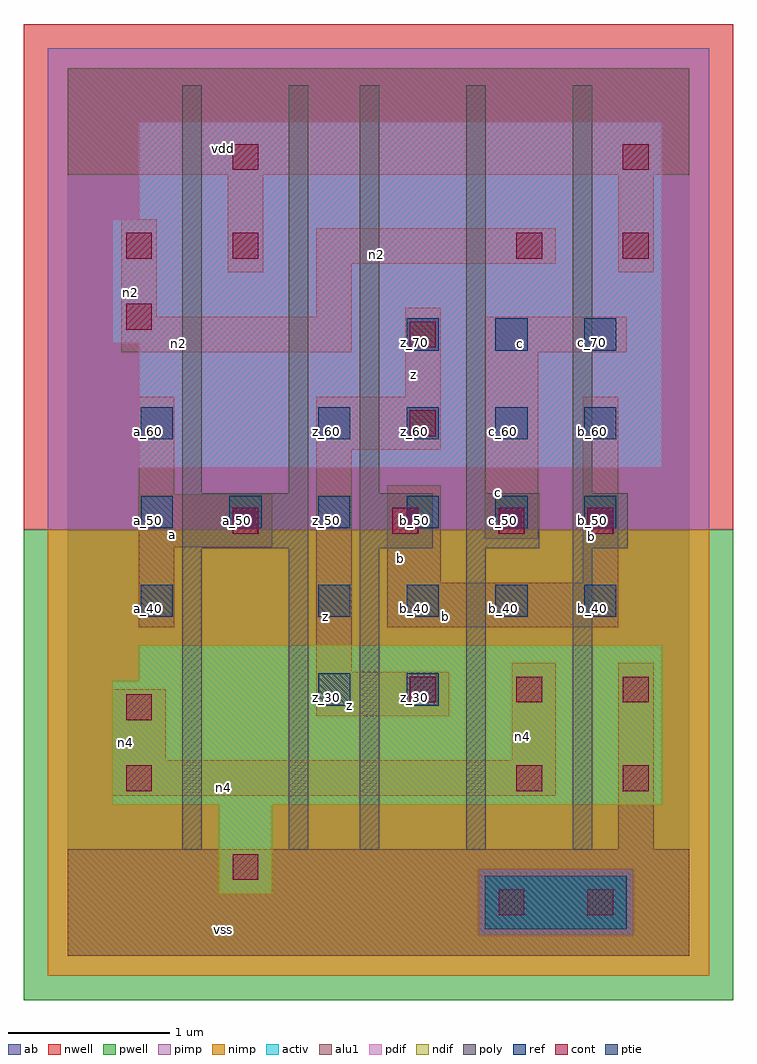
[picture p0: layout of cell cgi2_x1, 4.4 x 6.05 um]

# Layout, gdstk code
import gdstk
lib = gdstk.Library(unit=1e-6, precision=2.5e-09)
def R(c, l, rs):  # rectangles x0, y0, x1, y1
    for r in rs: c.add(gdstk.rectangle(r[:2], r[2:], *l))
def A(c, l, x, y, w, h, nx, ny, dx, dy):  # array of equal rectangles
    R(c, l, [(x+i*dx, y+j*dy, x+i*dx+w, y+j*dy+h) for i in range(nx) for j in range(ny)])
ndif = (3, 0)
pdif = (4, 0)
ptie = (6, 0)
ref = (24, 0)
cont = (25, 0)
pwell = (41, 0)
nwell = (42, 0)
activ = (43, 0)
pimp = (44, 0)
nimp = (45, 0)
poly = (46, 0)
alu1 = (49, 0)
ab = (63, 0)

cgi2_x1 = lib.new_cell('cgi2_x1')
R(cgi2_x1, ndif, [(0.935,0.385,1.265,0.935), (0.275,0.935,3.685,1.705), (0.44,1.705,3.685,1.925)])
R(cgi2_x1, pdif, [(0.44,3.025,3.685,3.795), (0.275,3.795,3.685,4.565), (0.44,4.565,3.685,5.17)])
R(cgi2_x1, ptie, [(2.585,0.165,3.465,0.495)])
A(cgi2_x1, ref, 1.55, 2.1, 0.2, 0.2, 4, 2, 0.55, 1.1)
A(cgi2_x1, ref, 0.45, 2.65, 0.2, 0.2, 6, 1, 0.55, 0)
A(cgi2_x1, ref, 2.1, 3.75, 0.2, 0.2, 3, 1, 0.55, 0)
R(cgi2_x1, ref, [(1.55,1.55,1.75,1.75), (2.1,1.55,2.3,1.75), (0.45,2.1,0.65,2.3), (0.45,3.2,0.65,3.4)])
A(cgi2_x1, cont, 2.12, 1.57, 0.16, 0.16, 3, 1, 0.66, 0)
R(cgi2_x1, cont, [(2.67,0.25,2.83,0.41), (3.22,0.25,3.38,0.41), (1.02,0.47,1.18,0.63), (0.36,1.02,0.52,1.18), (2.78,1.02,2.94,1.18), (3.44,1.02,3.6,1.18), (0.36,1.46,0.52,1.62), (1.02,2.615,1.18,2.775), (2.01,2.615,2.17,2.775), (2.67,2.615,2.83,2.775), (3.22,2.615,3.38,2.775), (2.12,3.22,2.28,3.38), (2.12,3.77,2.28,3.93), (0.36,3.88,0.52,4.04), (0.36,4.32,0.52,4.48), (1.02,4.32,1.18,4.48), (2.78,4.32,2.94,4.48), (3.44,4.32,3.6,4.48), (1.02,4.87,1.18,5.03), (3.44,4.87,3.6,5.03)])
R(cgi2_x1, pwell, [(-0.275,-0.275,4.125,2.64)])
R(cgi2_x1, nwell, [(-0.275,2.64,4.125,5.775)])
R(cgi2_x1, activ, [(2.585,0.165,3.465,0.495), (0.935,0.385,1.265,0.935), (0.275,0.935,3.685,1.705), (0.44,1.705,3.685,1.925), (0.44,3.025,3.685,3.795), (0.275,3.795,3.685,4.565), (0.44,4.565,3.685,5.17)])
R(cgi2_x1, pimp, [(2.545,0.125,3.505,0.535), (-0.125,2.64,3.975,5.625)])
R(cgi2_x1, nimp, [(-0.125,-0.125,3.975,0.125), (-0.125,0.125,2.545,0.535), (3.505,0.125,3.975,0.535), (-0.125,0.535,3.975,2.64)])
A(cgi2_x1, poly, 1.81, 0.655, 0.12, 1.87, 3, 1, 0.66, 0)
A(cgi2_x1, poly, 1.81, 2.865, 0.12, 2.53, 3, 1, 0.66, 0)
R(cgi2_x1, poly, [(0.71,0.655,0.83,2.525), (1.37,0.655,1.49,2.525), (0.71,2.525,1.49,2.865), (1.81,2.525,2.26,2.865), (2.47,2.525,2.92,2.865), (3.13,2.525,3.47,2.865), (0.71,2.865,0.83,5.395), (1.37,2.865,1.49,5.395)])
R(cgi2_x1, alu1, [(0,0,3.85,0.66), (3.41,0.66,3.63,1.815), (0.275,0.99,3.025,1.21), (0.275,1.21,0.605,1.65), (2.75,1.21,3.025,1.815), (1.54,1.485,2.365,1.76), (1.54,1.76,1.76,3.135), (0.44,2.035,0.66,2.53), (1.98,2.035,3.41,2.31), (1.98,2.31,2.31,2.915), (3.19,2.31,3.41,3.465), (0.44,2.53,1.265,2.86), (2.585,2.585,2.915,3.74), (0.44,2.86,0.66,3.465), (1.54,3.135,2.31,3.465), (2.09,3.465,2.31,4.015), (0.33,3.74,1.76,3.96), (2.585,3.74,3.465,3.96), (0.33,3.96,0.55,4.565), (1.54,3.96,1.76,4.29), (0.99,4.235,1.21,4.84), (3.41,4.235,3.63,4.84), (1.54,4.29,3.025,4.51), (0,4.84,3.85,5.5)])
R(cgi2_x1, ab, [(0,0,3.85,5.5)])
cgi2_x1.add(gdstk.Label('vss', (0.9625,0.165), layer=49, texttype=0))
cgi2_x1.add(gdstk.Label('n4', (0.9625,1.045), layer=49, texttype=0))
cgi2_x1.add(gdstk.Label('n4', (2.8175,1.36), layer=49, texttype=0))
cgi2_x1.add(gdstk.Label('z', (1.745,1.5525), layer=49, texttype=0))
cgi2_x1.add(gdstk.Label('n4', (0.3575,1.32), layer=49, texttype=0))
cgi2_x1.add(gdstk.Label('b', (2.3375,2.1025), layer=49, texttype=0))
cgi2_x1.add(gdstk.Label('b', (3.245,2.5975), layer=49, texttype=0))
cgi2_x1.add(gdstk.Label('c', (2.6675,2.8725), layer=49, texttype=0))
cgi2_x1.add(gdstk.Label('b', (2.0625,2.46), layer=49, texttype=0))
cgi2_x1.add(gdstk.Label('z', (1.595,2.1025), layer=49, texttype=0))
cgi2_x1.add(gdstk.Label('a', (0.645,2.6125), layer=49, texttype=0))
cgi2_x1.add(gdstk.Label('c', (2.805,3.795), layer=49, texttype=0))
cgi2_x1.add(gdstk.Label('z', (2.145,3.6025), layer=49, texttype=0))
cgi2_x1.add(gdstk.Label('n2', (0.6875,3.795), layer=49, texttype=0))
cgi2_x1.add(gdstk.Label('n2', (1.91,4.345), layer=49, texttype=0))
cgi2_x1.add(gdstk.Label('n2', (0.385,4.11), layer=49, texttype=0))
cgi2_x1.add(gdstk.Label('vdd', (0.9625,5.005), layer=49, texttype=0))
cgi2_x1.add(gdstk.Label('b_40', (3.25,2.15), layer=24, texttype=0))
cgi2_x1.add(gdstk.Label('b_40', (2.7,2.15), layer=24, texttype=0))
cgi2_x1.add(gdstk.Label('c_70', (3.25,3.8), layer=24, texttype=0))
cgi2_x1.add(gdstk.Label('c_70', (2.7,3.8), layer=24, texttype=0))
cgi2_x1.add(gdstk.Label('c_60', (2.7,3.25), layer=24, texttype=0))
cgi2_x1.add(gdstk.Label('z_30', (1.6,1.6), layer=24, texttype=0))
cgi2_x1.add(gdstk.Label('c_50', (2.7,2.7), layer=24, texttype=0))
cgi2_x1.add(gdstk.Label('b_50', (3.25,2.7), layer=24, texttype=0))
cgi2_x1.add(gdstk.Label('b_40', (2.15,2.15), layer=24, texttype=0))
cgi2_x1.add(gdstk.Label('a_50', (1.05,2.7), layer=24, texttype=0))
cgi2_x1.add(gdstk.Label('a_40', (0.5,2.15), layer=24, texttype=0))
cgi2_x1.add(gdstk.Label('z_70', (2.15,3.8), layer=24, texttype=0))
cgi2_x1.add(gdstk.Label('z_30', (2.15,1.6), layer=24, texttype=0))
cgi2_x1.add(gdstk.Label('z_40', (1.6,2.15), layer=24, texttype=0))
cgi2_x1.add(gdstk.Label('z_50', (1.6,2.7), layer=24, texttype=0))
cgi2_x1.add(gdstk.Label('z_60', (1.6,3.25), layer=24, texttype=0))
cgi2_x1.add(gdstk.Label('b_60', (3.25,3.25), layer=24, texttype=0))
cgi2_x1.add(gdstk.Label('a_50', (0.5,2.7), layer=24, texttype=0))
cgi2_x1.add(gdstk.Label('a_60', (0.5,3.25), layer=24, texttype=0))
cgi2_x1.add(gdstk.Label('z_60', (2.15,3.25), layer=24, texttype=0))
cgi2_x1.add(gdstk.Label('b_50', (2.15,2.7), layer=24, texttype=0))

lib.write_gds('cgi2_x1.gds')
